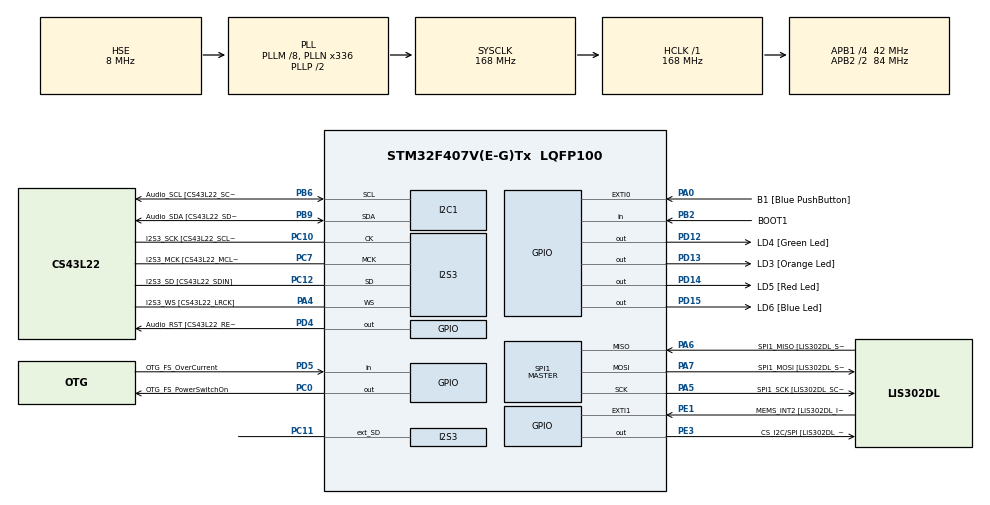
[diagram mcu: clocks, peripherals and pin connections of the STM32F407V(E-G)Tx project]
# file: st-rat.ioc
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PA11.GPIO_Speed=GPIO_SPEED_FREQ_LOW
Dma.I2S3_EXT_RX.0.PeriphBurst=DMA_PBURST_SINGLE
PD12.GPIO_Label=LD4 [Green Led]
Dma.I2S3_EXT_RX.0.MemDataAlignment=DMA_MDATAALIGN_BYTE
PH0-OSC_IN.Signal=RCC_OSC_IN
PC10.GPIO_PuPd=GPIO_NOPULL
SPI1.VirtualType=VM_MASTER
PB10.GPIO_PuPd=GPIO_NOPULL
PA10.GPIO_PuPd=GPIO_NOPULL
PC12.Signal=I2S3_SD
PA14.GPIO_Label=SWCLK
PA6.GPIO_Label=SPI1_MISO [LIS302DL_SDO]
PB6.GPIO_Label=Audio_SCL [CS43L22_SCL]
PC15-OSC32_OUT.GPIO_Label=PC15-OSC32_OUT
PC3.GPIO_Speed=GPIO_SPEED_FREQ_LOW
RCC.SYSCLKSource=RCC_SYSCLKSOURCE_PLLCLK
PA6.GPIO_Mode=GPIO_MODE_AF_PP
Dma.I2S3_EXT_RX.0.Direction=DMA_PERIPH_TO_MEMORY
PD14.GPIO_Speed=GPIO_SPEED_FREQ_LOW
PA4.Mode=Full_Duplex_Master
SPI1.Direction=SPI_DIRECTION_2LINES
PD4.Signal=GPIO_Output
RCC.APB2TimFreq_Value=168000000
PB6.Signal=I2C1_SCL
PC7.Signal=I2S3_MCK
PB6.Mode=I2C
PC3.Signal=I2S2_SD
Dma.I2S3_EXT_RX.0.Mode=DMA_CIRCULAR
PE1.Signal=GPXTI1
PB2.Signal=GPIO_Input
I2S3.ErrorAudioFreq=-2.34 %
PA5.GPIO_PuPd=GPIO_NOPULL
PD5.GPIO_Mode=GPIO_MODE_INPUT
PD14.GPIO_PuPd=GPIO_NOPULL
PB2.GPIO_PuPd=GPIO_NOPULL
SPI1.CalculateBaudRate-Full_Duplex_Master=42.0 MBits/s
Mcu.Package=LQFP100
PB9.Signal=I2C1_SDA
PD12.Signal=GPIO_Output
PA10.Signal=USB_OTG_FS_ID
PB9.GPIO_PuPd=GPIO_NOPULL
PC11.Mode=Full_Duplex_Master
RCC.APB2CLKDivider=RCC_HCLK_DIV2
RCC.APB1TimFreq_Value=84000000
Dma.I2S3_EXT_RX.0.Priority=DMA_PRIORITY_HIGH
PC12.GPIO_PuPd=GPIO_NOPULL
PA6.GPIO_Speed=GPIO_SPEED_FREQ_LOW
PA12.GPIO_PuPd=GPIO_NOPULL
PA4.GPIO_Label=I2S3_WS [CS43L22_LRCK]
PD15.Signal=GPIO_Output
PC0.PinState=GPIO_PIN_SET
PA5.Mode=Full_Duplex_Master
Dma.SPI3_TX.1.MemInc=DMA_MINC_ENABLE
I2S3.FullDuplexMode=I2S_FULLDUPLEXMODE_ENABLE
Dma.I2S3_EXT_RX.0.Instance=DMA1_Stream0
PA9.GPIO_Label=VBUS_FS
PB6.GPIO_PuPd=GPIO_NOPULL
PA11.GPIO_Label=OTG_FS_DM
PE1.GPIO_PuPd=GPIO_NOPULL
Dma.SPI3_TX.1.Priority=DMA_PRIORITY_HIGH
PC0.Signal=GPIO_Output
RCC.APB1CLKDivider=RCC_HCLK_DIV4
PC14-OSC32_IN.Signal=RCC_OSC32_IN
I2S3.DataFormat=I2S_DATAFORMAT_24B
PA0-WKUP.GPIO_ModeDefaultEXTI=GPIO_MODE_EVT_RISING
PA0-WKUP.GPIO_Label=B1 [Blue PushButton]
PA0-WKUP.Signal=GPXTI0
PC10.GPIO_Mode=GPIO_MODE_AF_PP
PB10.GPIO_Mode=GPIO_MODE_AF_PP
PA9.Signal=USB_OTG_FS_VBUS
Dma.I2S3_EXT_RX.0.PeriphInc=DMA_PINC_DISABLE
Dma.SPI3_TX.1.MemDataAlignment=DMA_MDATAALIGN_BYTE
I2S3.VirtualMode=I2S_MODE_MASTER
Dma.I2S3_EXT_RX.0.FIFOMode=DMA_FIFOMODE_ENABLE
PC7.GPIO_PuPd=GPIO_NOPULL
PB10.Signal=I2S2_CK
PA5.Signal=SPI1_SCK
I2S3.AudioFreq=I2S_AUDIOFREQ_96K
PC12.Mode=Full_Duplex_Master
PE1.GPIO_Label=MEMS_INT2 [LIS302DL_INT2]
PA7.GPIO_Speed=GPIO_SPEED_FREQ_LOW
PB2.GPIO_Mode=GPIO_MODE_INPUT
SPI1.Mode=SPI_MODE_MASTER
PD4.GPIO_Speed=GPIO_SPEED_FREQ_LOW
PE3.GPIO_PuPd=GPIO_NOPULL
PH1-OSC_OUT.GPIO_Label=PH1-OSC_OUT
PA13.Mode=Serial_Wire
PC7.GPIO_Label=I2S3_MCK [CS43L22_MCLK]
Dma.SPI3_TX.1.PeriphInc=DMA_PINC_DISABLE
PA4.Signal=I2S3_WS
PC12.GPIO_Mode=GPIO_MODE_AF_PP
PA5.GPIO_Label=SPI1_SCK [LIS302DL_SCL/SPC]
PE3.GPIO_Speed=GPIO_SPEED_FREQ_LOW
PC12.GPIO_Label=I2S3_SD [CS43L22_SDIN]
PA11.Signal=USB_OTG_FS_DM
ProjectManager.HeapSize=0x200
NVIC.PriorityGroup=NVIC_PRIORITYGROUP_0
PE3.Signal=GPIO_Output
PC3.GPIO_Label=PDM_OUT [MP45DT02_DOUT]
PA0-WKUP.GPIO_PuPd=GPIO_NOPULL
I2S3.Instance=SPI$Index
PB6.GPIO_Speed=GPIO_SPEED_FREQ_LOW
SPI1.BaudRatePrescaler-Full_Duplex_Master=SPI_BAUDRATEPRESCALER_2
Mcu.Family=STM32F4
PC3.GPIO_Mode=GPIO_MODE_AF_PP
PA6.Mode=Full_Duplex_Master
RCC.CortexFreq_Value=168000000
PB10.GPIO_Speed=GPIO_SPEED_FREQ_LOW
PB6.GPIO_Mode=GPIO_MODE_AF_OD
PD15.GPIO_Speed=GPIO_SPEED_FREQ_LOW
PC10.Signal=I2S3_CK
PA7.GPIO_Mode=GPIO_MODE_AF_PP
PC0.GPIO_Label=OTG_FS_PowerSwitchOn
PC10.GPIO_Speed=GPIO_SPEED_FREQ_LOW
PA11.GPIO_PuPd=GPIO_NOPULL
ProjectManager.StackSize=0x400
SPI1.Mode-Full_Duplex_Master=SPI_MODE_MASTER
PD13.Signal=GPIO_Output
PA12.Signal=USB_OTG_FS_DP
Dma.I2S3_EXT_RX.0.MemBurst=DMA_MBURST_SINGLE
RCC.HCLKFreq_Value=168000000
I2S3.Mode=I2S_MODE_MASTER_TX
RCC.AHBFreq_Value=168000000
PH0-OSC_IN.Mode=HSE-External-Oscillator
PH0-OSC_IN.GPIO_Label=PH0-OSC_IN
PA9.GPIO_Mode=GPIO_MODE_INPUT
RCC.HSE_VALUE=8000000
PA4.GPIO_PuPd=GPIO_NOPULL
PA4.GPIO_Speed=GPIO_SPEED_FREQ_LOW
PA6.GPIO_PuPd=GPIO_NOPULL
Dma.SPI3_TX.1.MemBurst=DMA_MBURST_SINGLE
PC14-OSC32_IN.Mode=LSE-External-Oscillator
PA14.Mode=Serial_Wire
PA10.GPIO_Label=OTG_FS_ID
PC7.GPIO_Mode=GPIO_MODE_AF_PP
PH1-OSC_OUT.Mode=HSE-External-Oscillator
PD13.GPIO_Label=LD3 [Orange Led]
PA6.Signal=SPI1_MISO
Dma.I2S3_EXT_RX.0.MemInc=DMA_MINC_ENABLE
PD5.GPIO_Label=OTG_FS_OverCurrent
PD15.GPIO_PuPd=GPIO_NOPULL
NVIC.SPI3_IRQn=true\:0\:0\:false\:false\:true\:true\:true
PA10.GPIO_Speed=GPIO_SPEED_FREQ_LOW
Dma.SPI3_TX.1.Direction=DMA_MEMORY_TO_PERIPH
PB9.GPIO_Speed=GPIO_SPEED_FREQ_LOW
Dma.Request1=SPI3_TX
NVIC.DMA1_Stream0_IRQn=true\:0\:0\:false\:false\:true\:false\:true
PC14-OSC32_IN.GPIO_Label=PC14-OSC32_IN
PC0.GPIO_PuPd=GPIO_NOPULL
Dma.Request0=I2S3_EXT_RX
PA12.GPIO_Speed=GPIO_SPEED_FREQ_LOW
Dma.I2S3_EXT_RX.0.PeriphDataAlignment=DMA_PDATAALIGN_BYTE
PB3.GPIO_Label=SWO
RCC.PLLSourceVirtual=RCC_PLLSOURCE_HSE
PC15-OSC32_OUT.Mode=LSE-External-Oscillator
PD12.GPIO_Speed=GPIO_SPEED_FREQ_LOW
PD15.GPIO_Label=LD6 [Blue Led]
PA7.Mode=Full_Duplex_Master
PB9.GPIO_Label=Audio_SDA [CS43L22_SDA]
PC10.GPIO_Label=I2S3_SCK [CS43L22_SCLK]
PC11.Signal=I2S3_ext_SD
PC10.Mode=Full_Duplex_Master
Dma.SPI3_TX.1.FIFOMode=DMA_FIFOMODE_ENABLE
PD5.Signal=GPIO_Input
PE1.GPIO_ModeDefaultEXTI=GPIO_MODE_EVT_RISING
PA9.GPIO_PuPd=GPIO_NOPULL
PA12.GPIO_Label=OTG_FS_DP
Dma.SPI3_TX.1.Instance=DMA1_Stream5
PA10.GPIO_Mode=GPIO_MODE_AF_PP
Dma.SPI3_TX.1.PeriphDataAlignment=DMA_PDATAALIGN_BYTE
PA13.Signal=SYS_JTMS-SWDIO
Dma.SPI3_TX.1.PeriphBurst=DMA_PBURST_SINGLE
PD4.GPIO_PuPd=GPIO_NOPULL
PC0.GPIO_Speed=GPIO_SPEED_FREQ_LOW
Dma.SPI3_TX.1.Mode=DMA_CIRCULAR
ProjectManager.TargetToolchain=STM32CubeIDE
PB10.GPIO_Label=CLK_IN [MP45DT02_CLK]
NVIC.DMA1_Stream5_IRQn=true\:0\:0\:false\:false\:true\:false\:true
PB9.Mode=I2C
PC15-OSC32_OUT.Signal=RCC_OSC32_OUT
PA7.GPIO_PuPd=GPIO_NOPULL
Dma.SPI3_TX.1.FIFOThreshold=DMA_FIFO_THRESHOLD_FULL
board=STM32F407G-DISC1
PD13.GPIO_Speed=GPIO_SPEED_FREQ_LOW
PC7.GPIO_Speed=GPIO_SPEED_FREQ_LOW
RCC.VCOOutputFreq_Value=336000000
PB9.GPIO_Mode=GPIO_MODE_AF_OD
PA12.GPIO_Mode=GPIO_MODE_AF_PP
PA4.GPIO_Mode=GPIO_MODE_AF_PP
RCC.APB2Freq_Value=84000000
PD4.GPIO_Label=Audio_RST [CS43L22_RESET]
PH1-OSC_OUT.Signal=RCC_OSC_OUT
Dma.I2S3_EXT_RX.0.FIFOThreshold=DMA_FIFO_THRESHOLD_FULL
PD13.GPIO_PuPd=GPIO_NOPULL
PD5.GPIO_PuPd=GPIO_NOPULL
PD14.GPIO_Label=LD5 [Red Led]
Mcu.Name=STM32F407V(E-G)Tx
PA13.GPIO_Label=SWDIO
PD14.Signal=GPIO_Output
RCC.48MHZClocksFreq_Value=48000000
PB3.Signal=SYS_JTDO-SWO
RCC.SYSCLKFreq_VALUE=168000000
PA7.GPIO_Label=SPI1_MOSI [LIS302DL_SDA/SDI/SDO]
PA14.Signal=SYS_JTCK-SWCLK
PB2.GPIO_Label=BOOT1
RCC.HSI_VALUE=16000000
PA5.GPIO_Speed=GPIO_SPEED_FREQ_LOW
RCC.PLLQ=7
I2S3.RealAudioFreq=93.75 KHz
RCC.PLLM=8
RCC.PLLN=336
PE3.GPIO_Label=CS_I2C/SPI [LIS302DL_CS_I2C/SPI]
PC7.Mode=Master_Clock_Activated
PA11.GPIO_Mode=GPIO_MODE_AF_PP
RCC.APB1Freq_Value=42000000
PA5.GPIO_Mode=GPIO_MODE_AF_PP
PC12.GPIO_Speed=GPIO_SPEED_FREQ_LOW
PC3.GPIO_PuPd=GPIO_NOPULL
PD12.GPIO_PuPd=GPIO_NOPULL
PA7.Signal=SPI1_MOSI

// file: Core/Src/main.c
/* USER CODE BEGIN Header */
/**
  ******************************************************************************
  * @file           : main.c
  * @brief          : Main program body
  ******************************************************************************
  * @attention
  *
  * <h2><center>&copy; Copyright (c) 2021 STMicroelectronics.
  * All rights reserved.</center></h2>
  *
  * This software component is licensed by ST under Ultimate Liberty license
  * SLA0044, the "License"; You may not use this file except in compliance with
  * the License. You may obtain a copy of the License at:
  *                             www.st.com/SLA0044
  *
  ******************************************************************************
  */
/* USER CODE END Header */
#include "main.h"

/* USER CODE BEGIN Includes */
#include "MY_CS43L22.h"
#include "math.h"
/* USER CODE END Includes */

/* USER CODE BEGIN PD */
#define PI 3.14159f

//sample rate and output frequency
#define F_SAMPLE 50000.0f
#define F_OUT 500.0f
/* USER CODE END PD */

I2C_HandleTypeDef hi2c1;

I2S_HandleTypeDef hi2s3;
DMA_HandleTypeDef hdma_i2s3_ext_rx;
DMA_HandleTypeDef hdma_spi3_tx;

SPI_HandleTypeDef hspi1;

void SystemClock_Config(void);
static void MX_GPIO_Init(void);
static void MX_DMA_Init(void);
static void MX_I2C1_Init(void);
static void MX_I2S3_Init(void);
static void MX_SPI1_Init(void);

/* USER CODE BEGIN 0 */
float mySinVal;
float sample_dt;
uint16_t sample_N;

int16_t dataI2S[100];

uint16_t rxBuf[8];
uint16_t txBuf[8];
/* USER CODE END 0 */

int main(void)
{
  /* USER CODE BEGIN 1 */
  sample_dt = F_OUT/F_SAMPLE;
  sample_N = F_SAMPLE/F_OUT;
  /* USER CODE END 1 */

  /* MCU Configuration--------------------------------------------------------*/

  /* Reset of all peripherals, Initializes the Flash interface and the Systick. */
  HAL_Init();

  /* Configure the system clock */
  SystemClock_Config();

  /* Initialize all configured peripherals */
  MX_GPIO_Init();
  MX_DMA_Init();
  MX_I2C1_Init();
  MX_I2S3_Init();
  MX_SPI1_Init();
  /* USER CODE BEGIN 2 */
  HAL_I2SEx_TransmitReceive_DMA(&hi2s3, txBuf, rxBuf, 4);

  CS43_Init(hi2c1, MODE_I2S);
  CS43_SetVolume(1);
  CS43_Enable_RightLeft(CS43_RIGHT_LEFT);
  CS43_Start();

  //Build Sine wave
  	for(uint16_t i=0; i<sample_N; i++)
  	{
  		mySinVal = sinf(i*2*PI*sample_dt);
  		dataI2S[i*2] = (mySinVal )*8000;    //Right data (0 2 4 6 8 10 12)
  		dataI2S[i*2 + 1] =(mySinVal )*8000; //Left data  (1 3 5 7 9 11 13)
  	}

  /* USER CODE END 2 */

  /* Infinite loop */
  while (1)
  {

  }
}

void SystemClock_Config(void)
{
  RCC_OscInitTypeDef RCC_OscInitStruct = {0};
  RCC_ClkInitTypeDef RCC_ClkInitStruct = {0};
  RCC_PeriphCLKInitTypeDef PeriphClkInitStruct = {0};

  /** Configure the main internal regulator output voltage
  */
  __HAL_RCC_PWR_CLK_ENABLE();
  __HAL_PWR_VOLTAGESCALING_CONFIG(PWR_REGULATOR_VOLTAGE_SCALE1);
  /** Initializes the RCC Oscillators according to the specified parameters
  * in the RCC_OscInitTypeDef structure.
  */
  RCC_OscInitStruct.OscillatorType = RCC_OSCILLATORTYPE_HSE;
  RCC_OscInitStruct.HSEState = RCC_HSE_ON;
  RCC_OscInitStruct.PLL.PLLState = RCC_PLL_ON;
  RCC_OscInitStruct.PLL.PLLSource = RCC_PLLSOURCE_HSE;
  RCC_OscInitStruct.PLL.PLLM = 8;
  RCC_OscInitStruct.PLL.PLLN = 336;
  RCC_OscInitStruct.PLL.PLLP = RCC_PLLP_DIV2;
  RCC_OscInitStruct.PLL.PLLQ = 7;
  if (HAL_RCC_OscConfig(&RCC_OscInitStruct) != HAL_OK)
  {
    Error_Handler();
  }
  /** Initializes the CPU, AHB and APB buses clocks
  */
  RCC_ClkInitStruct.ClockType = RCC_CLOCKTYPE_HCLK|RCC_CLOCKTYPE_SYSCLK
                              |RCC_CLOCKTYPE_PCLK1|RCC_CLOCKTYPE_PCLK2;
  RCC_ClkInitStruct.SYSCLKSource = RCC_SYSCLKSOURCE_PLLCLK;
  RCC_ClkInitStruct.AHBCLKDivider = RCC_SYSCLK_DIV1;
  RCC_ClkInitStruct.APB1CLKDivider = RCC_HCLK_DIV4;
  RCC_ClkInitStruct.APB2CLKDivider = RCC_HCLK_DIV2;

  if (HAL_RCC_ClockConfig(&RCC_ClkInitStruct, FLASH_LATENCY_5) != HAL_OK)
  {
    Error_Handler();
  }
  PeriphClkInitStruct.PeriphClockSelection = RCC_PERIPHCLK_I2S;
  PeriphClkInitStruct.PLLI2S.PLLI2SN = 192;
  PeriphClkInitStruct.PLLI2S.PLLI2SR = 2;
  if (HAL_RCCEx_PeriphCLKConfig(&PeriphClkInitStruct) != HAL_OK)
  {
    Error_Handler();
  }
}

static void MX_I2C1_Init(void)
{

  hi2c1.Instance = I2C1;
  hi2c1.Init.ClockSpeed = 100000;
  hi2c1.Init.DutyCycle = I2C_DUTYCYCLE_2;
  hi2c1.Init.OwnAddress1 = 0;
  hi2c1.Init.AddressingMode = I2C_ADDRESSINGMODE_7BIT;
  hi2c1.Init.DualAddressMode = I2C_DUALADDRESS_DISABLE;
  hi2c1.Init.OwnAddress2 = 0;
  hi2c1.Init.GeneralCallMode = I2C_GENERALCALL_DISABLE;
  hi2c1.Init.NoStretchMode = I2C_NOSTRETCH_DISABLE;
  if (HAL_I2C_Init(&hi2c1) != HAL_OK)
  {
    Error_Handler();
  }

}

static void MX_I2S3_Init(void)
{

  hi2s3.Instance = SPI3;
  hi2s3.Init.Mode = I2S_MODE_MASTER_TX;
  hi2s3.Init.Standard = I2S_STANDARD_PHILIPS;
  hi2s3.Init.DataFormat = I2S_DATAFORMAT_24B;
  hi2s3.Init.MCLKOutput = I2S_MCLKOUTPUT_ENABLE;
  hi2s3.Init.AudioFreq = I2S_AUDIOFREQ_96K;
  hi2s3.Init.CPOL = I2S_CPOL_LOW;
  hi2s3.Init.ClockSource = I2S_CLOCK_PLL;
  hi2s3.Init.FullDuplexMode = I2S_FULLDUPLEXMODE_ENABLE;
  if (HAL_I2S_Init(&hi2s3) != HAL_OK)
  {
    Error_Handler();
  }

}

static void MX_SPI1_Init(void)
{

  /* SPI1 parameter configuration*/
  hspi1.Instance = SPI1;
  hspi1.Init.Mode = SPI_MODE_MASTER;
  hspi1.Init.Direction = SPI_DIRECTION_2LINES;
  hspi1.Init.DataSize = SPI_DATASIZE_8BIT;
  hspi1.Init.CLKPolarity = SPI_POLARITY_LOW;
  hspi1.Init.CLKPhase = SPI_PHASE_1EDGE;
  hspi1.Init.NSS = SPI_NSS_SOFT;
  hspi1.Init.BaudRatePrescaler = SPI_BAUDRATEPRESCALER_2;
  hspi1.Init.FirstBit = SPI_FIRSTBIT_MSB;
  hspi1.Init.TIMode = SPI_TIMODE_DISABLE;
  hspi1.Init.CRCCalculation = SPI_CRCCALCULATION_DISABLE;
  hspi1.Init.CRCPolynomial = 10;
  if (HAL_SPI_Init(&hspi1) != HAL_OK)
  {
    Error_Handler();
  }

}

static void MX_DMA_Init(void)
{

  /* DMA controller clock enable */
  __HAL_RCC_DMA1_CLK_ENABLE();

  /* DMA interrupt init */
  /* DMA1_Stream0_IRQn interrupt configuration */
  HAL_NVIC_SetPriority(DMA1_Stream0_IRQn, 0, 0);
  HAL_NVIC_EnableIRQ(DMA1_Stream0_IRQn);
  /* DMA1_Stream5_IRQn interrupt configuration */
  HAL_NVIC_SetPriority(DMA1_Stream5_IRQn, 0, 0);
  HAL_NVIC_EnableIRQ(DMA1_Stream5_IRQn);

}

static void MX_GPIO_Init(void)
{
  GPIO_InitTypeDef GPIO_InitStruct = {0};

  /* GPIO Ports Clock Enable */
  __HAL_RCC_GPIOE_CLK_ENABLE();
  __HAL_RCC_GPIOC_CLK_ENABLE();
  __HAL_RCC_GPIOH_CLK_ENABLE();
  __HAL_RCC_GPIOA_CLK_ENABLE();
  __HAL_RCC_GPIOB_CLK_ENABLE();
  __HAL_RCC_GPIOD_CLK_ENABLE();

  /*Configure GPIO pin Output Level */
  HAL_GPIO_WritePin(CS_I2C_SPI_GPIO_Port, CS_I2C_SPI_Pin, GPIO_PIN_RESET);

  /*Configure GPIO pin Output Level */
  HAL_GPIO_WritePin(OTG_FS_PowerSwitchOn_GPIO_Port, OTG_FS_PowerSwitchOn_Pin, GPIO_PIN_SET);

  /*Configure GPIO pin Output Level */
  HAL_GPIO_WritePin(GPIOD, LD4_Pin|LD3_Pin|LD5_Pin|LD6_Pin
                          |Audio_RST_Pin, GPIO_PIN_RESET);

  /*Configure GPIO pin : CS_I2C_SPI_Pin */
  GPIO_InitStruct.Pin = CS_I2C_SPI_Pin;
  GPIO_InitStruct.Mode = GPIO_MODE_OUTPUT_PP;
  GPIO_InitStruct.Pull = GPIO_NOPULL;
  GPIO_InitStruct.Speed = GPIO_SPEED_FREQ_LOW;
  HAL_GPIO_Init(CS_I2C_SPI_GPIO_Port, &GPIO_InitStruct);

  /*Configure GPIO pin : OTG_FS_PowerSwitchOn_Pin */
  GPIO_InitStruct.Pin = OTG_FS_PowerSwitchOn_Pin;
  GPIO_InitStruct.Mode = GPIO_MODE_OUTPUT_PP;
  GPIO_InitStruct.Pull = GPIO_NOPULL;
  GPIO_InitStruct.Speed = GPIO_SPEED_FREQ_LOW;
  HAL_GPIO_Init(OTG_FS_PowerSwitchOn_GPIO_Port, &GPIO_InitStruct);

  /*Configure GPIO pin : PDM_OUT_Pin */
  GPIO_InitStruct.Pin = PDM_OUT_Pin;
  GPIO_InitStruct.Mode = GPIO_MODE_AF_PP;
  GPIO_InitStruct.Pull = GPIO_NOPULL;
  GPIO_InitStruct.Speed = GPIO_SPEED_FREQ_LOW;
  GPIO_InitStruct.Alternate = GPIO_AF5_SPI2;
  HAL_GPIO_Init(PDM_OUT_GPIO_Port, &GPIO_InitStruct);

  /*Configure GPIO pin : B1_Pin */
  GPIO_InitStruct.Pin = B1_Pin;
  GPIO_InitStruct.Mode = GPIO_MODE_EVT_RISING;
  GPIO_InitStruct.Pull = GPIO_NOPULL;
  HAL_GPIO_Init(B1_GPIO_Port, &GPIO_InitStruct);

  /*Configure GPIO pin : BOOT1_Pin */
  GPIO_InitStruct.Pin = BOOT1_Pin;
  GPIO_InitStruct.Mode = GPIO_MODE_INPUT;
  GPIO_InitStruct.Pull = GPIO_NOPULL;
  HAL_GPIO_Init(BOOT1_GPIO_Port, &GPIO_InitStruct);

  /*Configure GPIO pin : CLK_IN_Pin */
  GPIO_InitStruct.Pin = CLK_IN_Pin;
  GPIO_InitStruct.Mode = GPIO_MODE_AF_PP;
  GPIO_InitStruct.Pull = GPIO_NOPULL;
  GPIO_InitStruct.Speed = GPIO_SPEED_FREQ_LOW;
  GPIO_InitStruct.Alternate = GPIO_AF5_SPI2;
  HAL_GPIO_Init(CLK_IN_GPIO_Port, &GPIO_InitStruct);

  /*Configure GPIO pins : LD4_Pin LD3_Pin LD5_Pin LD6_Pin
                           Audio_RST_Pin */
  GPIO_InitStruct.Pin = LD4_Pin|LD3_Pin|LD5_Pin|LD6_Pin
                          |Audio_RST_Pin;
  GPIO_InitStruct.Mode = GPIO_MODE_OUTPUT_PP;
  GPIO_InitStruct.Pull = GPIO_NOPULL;
  GPIO_InitStruct.Speed = GPIO_SPEED_FREQ_LOW;
  HAL_GPIO_Init(GPIOD, &GPIO_InitStruct);

  /*Configure GPIO pin : VBUS_FS_Pin */
  GPIO_InitStruct.Pin = VBUS_FS_Pin;
  GPIO_InitStruct.Mode = GPIO_MODE_INPUT;
  GPIO_InitStruct.Pull = GPIO_NOPULL;
  HAL_GPIO_Init(VBUS_FS_GPIO_Port, &GPIO_InitStruct);

  /*Configure GPIO pins : OTG_FS_ID_Pin OTG_FS_DM_Pin OTG_FS_DP_Pin */
  GPIO_InitStruct.Pin = OTG_FS_ID_Pin|OTG_FS_DM_Pin|OTG_FS_DP_Pin;
  GPIO_InitStruct.Mode = GPIO_MODE_AF_PP;
  GPIO_InitStruct.Pull = GPIO_NOPULL;
  GPIO_InitStruct.Speed = GPIO_SPEED_FREQ_LOW;
  GPIO_InitStruct.Alternate = GPIO_AF10_OTG_FS;
  HAL_GPIO_Init(GPIOA, &GPIO_InitStruct);

  /*Configure GPIO pin : OTG_FS_OverCurrent_Pin */
  GPIO_InitStruct.Pin = OTG_FS_OverCurrent_Pin;
  GPIO_InitStruct.Mode = GPIO_MODE_INPUT;
  GPIO_InitStruct.Pull = GPIO_NOPULL;
  HAL_GPIO_Init(OTG_FS_OverCurrent_GPIO_Port, &GPIO_InitStruct);

  /*Configure GPIO pin : MEMS_INT2_Pin */
  GPIO_InitStruct.Pin = MEMS_INT2_Pin;
  GPIO_InitStruct.Mode = GPIO_MODE_EVT_RISING;
  GPIO_InitStruct.Pull = GPIO_NOPULL;
  HAL_GPIO_Init(MEMS_INT2_GPIO_Port, &GPIO_InitStruct);

}

/* USER CODE BEGIN 4 */
void HAL_I2SEx_TxRxHalfCpltCallback(I2S_HandleTypeDef *hi2s){

	/*//restore signed 24 bit sample from 16-bit buffers
	int lSample = (int) (rxBuf[0]<<16)|rxBuf[1];
	int rSample = (int) (rxBuf[2]<<16)|rxBuf[3];

	// divide by 2 (rightshift) -> -3dB per sample
	lSample = lSample>>1;
	rSample = rSample>>1;

	//sum to mono
	lSample = rSample + lSample;
	rSample = lSample;

	//run HP on left channel and LP on right channel
	lSample = Calc_IIR_Left(lSample);
	rSample = Calc_IIR_Right(rSample);*/

	//restore to buffer
	txBuf[0] = rxBuf[0];
	txBuf[1] = rxBuf[1];
	txBuf[2] = rxBuf[2];
	txBuf[3] = rxBuf[3];
}

void HAL_I2SEx_TxRxCpltCallback(I2S_HandleTypeDef *hi2s){

	/*//restore signed 24 bit sample from 16-bit buffers
	int lSample = (int) (rxBuf[4]<<16)|rxBuf[5];
	int rSample = (int) (rxBuf[6]<<16)|rxBuf[7];

	// divide by 2 (rightshift) -> -3dB per sample
	lSample = lSample>>1;
	rSample = rSample>>1;

	//sum to mono
	lSample = rSample + lSample;
	rSample = lSample;

	//run HP on left channel and LP on right channel
	lSample = Calc_IIR_Left(lSample);
	rSample = Calc_IIR_Right(rSample);*/

	//restore to buffer
	txBuf[4] = rxBuf[4];
	txBuf[5] = rxBuf[5];
	txBuf[6] = rxBuf[6];
	txBuf[7] = rxBuf[7];
}
/* USER CODE END 4 */

void Error_Handler(void)
{
  __disable_irq();
  while (1)
  {
  }
}

/************************ (C) COPYRIGHT STMicroelectronics *****END OF FILE****/
